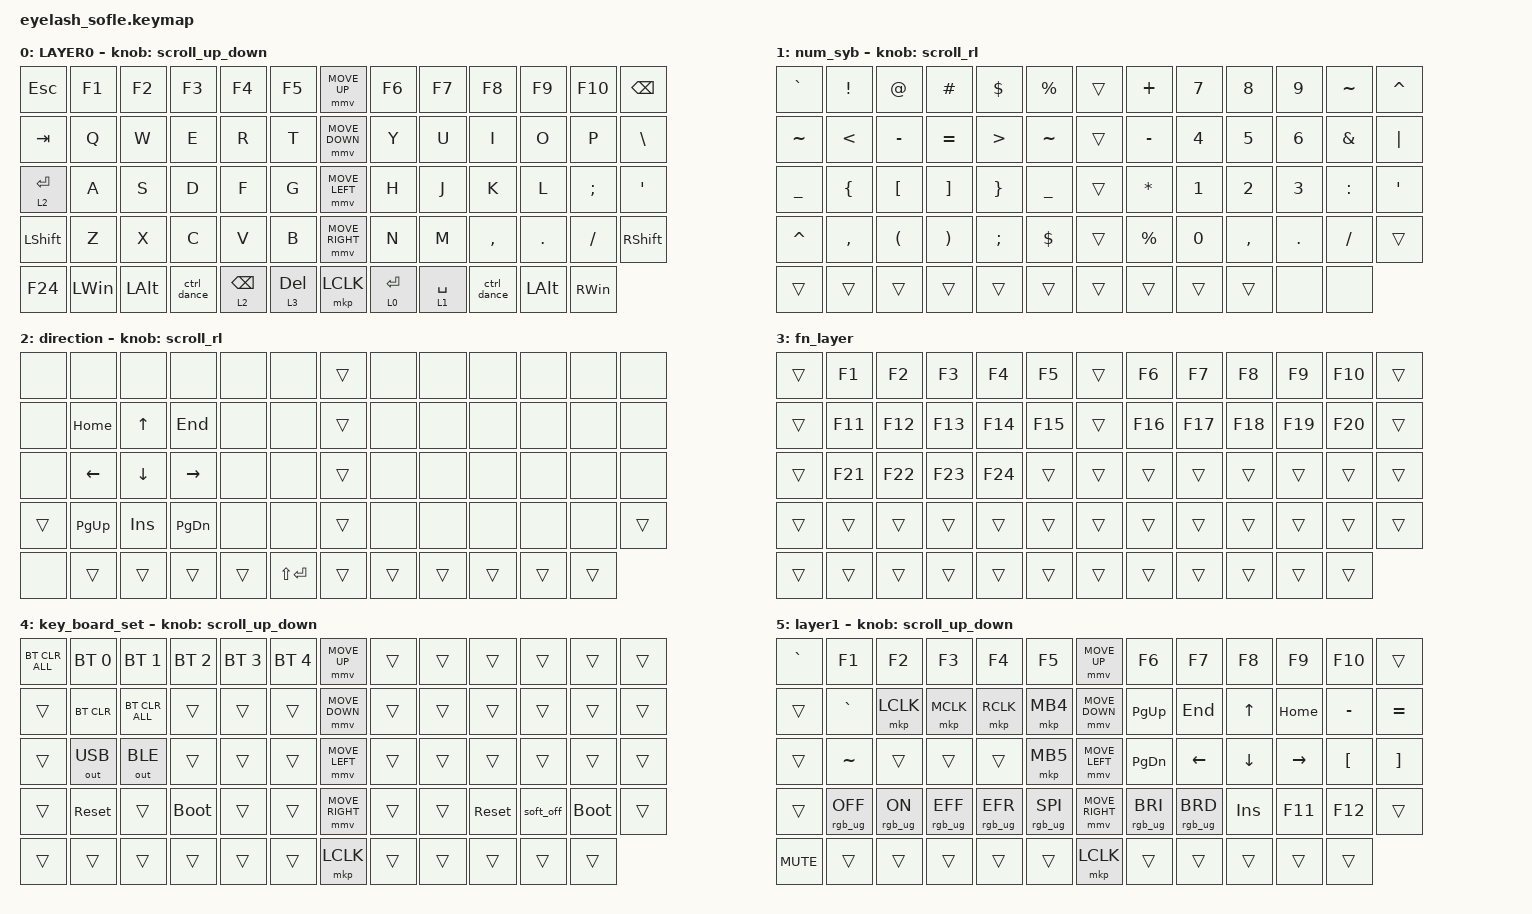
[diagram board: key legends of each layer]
#define ZMK_POINTING_DEFAULT_MOVE_VAL 1200  // 600
#define ZMK_POINTING_DEFAULT_SCRL_VAL 25   // 10

#include <input/processors.dtsi>
#include <zephyr/dt-bindings/input/input-event-codes.h>
#include <behaviors.dtsi>
#include <dt-bindings/zmk/bt.h>
#include <dt-bindings/zmk/keys.h>
#include <dt-bindings/zmk/outputs.h>
#include <dt-bindings/zmk/pointing.h>
#include <dt-bindings/zmk/rgb.h>

&mmv_input_listener { input-processors = <&zip_xy_scaler 2 1>; };

&msc_input_listener { input-processors = <&zip_scroll_scaler 2 1>; };

&msc {
    acceleration-exponent = <1>;      // 0
    time-to-max-speed-ms = <100>;       // 300
    delay-ms = <0>;                   // 0
};

&mmv {
    time-to-max-speed-ms = <500>;
    acceleration-exponent = <1>;
    trigger-period-ms = <16>;
};

// layer_lock: sticky_layer_lock { // 这里的第二个词 "sticky_layer_lock" 也是自定义的，可以随便写
//&
//    compatible = "zmk,behavior-sticky-layer";
//    bindings = <&kp>;
//    release-after-ms = <(-1)>;
//};

/ {
    // 定义部分，可以叫 sl 也可以叫 layer_lock
    //layer_lock: sticky_layer_lock {
    //    compatible = "zmk,behavior-sticky-layer";
    //
    //    #binding-cells = <2>;
    //    bindings = <&mo>, <&kp>;
    //    tapping-term-ms = <200>; // 这个参数虽然在此场景下作用不大，但属于标准配置项
    //};

    scroll_up_down: scroll_up_down {
        compatible = "zmk,behavior-sensor-rotate";
        #sensor-binding-cells = <0>;
        bindings = <&msc SCRL_DOWN>, <&msc SCRL_UP>;

        label = "SCROLL_UP_DOWN";
        tap-ms = <100>;
    };

    ctrl_dance: ctrl_dance {
        compatible = "zmk,behavior-tap-dance";
        label = "CTRL_DANCE";
        #binding-cells = <0>;
        bindings = <&kp LEFT_CONTROL>, <&kp RIGHT_CONTROL>;

        tapping-term-ms = <220>;
    };

    fn_tap: fn_tap {
        compatible = "zmk,behavior-hold-tap";
        label = "FN_TAP";
        bindings = <&mo>, <&kp>;

        #binding-cells = <2>;
        quick-tap-ms = <220>;
        tapping-term-ms = <150>;
        flavor = "tap-preferred";
    };

    scroll_rl: scroll_rl {
        compatible = "zmk,behavior-sensor-rotate";
        #sensor-binding-cells = <0>;
        bindings = <&msc SCRL_LEFT>, <&msc SCRL_RIGHT>;

        tap-ms = <100>;
        label = "SCROLL_RL";
    };

    behaviors {
    };

    combos { compatible = "zmk,combos"; };

    keymap {
        compatible = "zmk,keymap";

        default {
            bindings = <
&kp ESC      &kp F1        &kp F2    &kp F3       &kp F4               &kp F5           &mmv MOVE_UP     &kp F6           &kp F7           &kp F8       &kp F9    &kp F10        &kp BACKSPACE
&kp TAB      &kp Q         &kp W     &kp E        &kp R                &kp T            &mmv MOVE_DOWN   &kp Y            &kp U            &kp I        &kp O     &kp P          &kp BSLH
&lt 2 ENTER  &kp A         &kp S     &kp D        &kp F                &kp G            &mmv MOVE_LEFT   &kp H            &kp J            &kp K        &kp L     &kp SEMI       &kp APOS
&kp LSHFT    &kp Z         &kp X     &kp C        &kp V                &kp B            &mmv MOVE_RIGHT  &kp N            &kp M            &kp COMMA    &kp DOT   &kp FSLH       &kp RIGHT_SHIFT
&kp F24      &kp LEFT_WIN  &kp LALT  &ctrl_dance  &fn_tap 2 BACKSPACE  &fn_tap 3 DEL    &mkp LCLK        &fn_tap 0 ENTER  &fn_tap 1 SPACE  &ctrl_dance  &kp LALT  &kp RIGHT_WIN
            >;

            sensor-bindings = <&scroll_up_down>;
            display-name = "LAYER0";
        };

        num_syb {
            bindings = <
&kp GRAVE       &kp EXCL   &kp AT     &kp HASH   &kp DOLLAR  &kp PERCENT       &trans  &kp PLUS     &kp N7  &kp N8     &kp N9   &kp TILDE  &kp CARET
&kp TILDE       &kp LT     &kp MINUS  &kp EQUAL  &kp GT      &kp TILDE         &trans  &kp MINUS    &kp N4  &kp N5     &kp N6   &kp AMPS   &kp PIPE
&kp UNDERSCORE  &kp LBRC   &kp LBKT   &kp RBKT   &kp RBRC    &kp UNDERSCORE    &trans  &kp ASTRK    &kp N1  &kp N2     &kp N3   &kp COLON  &kp SQT
&kp CARET       &kp COMMA  &kp LPAR   &kp RPAR   &kp SEMI    &kp DOLLAR        &trans  &kp PERCENT  &kp N0  &kp COMMA  &kp DOT  &kp FSLH   &trans
&trans          &trans     &trans     &trans     &trans      &trans            &trans  &trans       &trans  &trans     &none    &none
            >;

            sensor-bindings = <&scroll_rl>;
        };

        direction {
            bindings = <
&none   &none      &none       &none      &none   &none            &trans  &none   &none   &none   &none   &none   &none
&none   &kp HOME   &kp UP      &kp END    &none   &none            &trans  &none   &none   &none   &none   &none   &none
&none   &kp LEFT   &kp DOWN    &kp RIGHT  &none   &none            &trans  &none   &none   &none   &none   &none   &none
&trans  &kp PG_UP  &kp INSERT  &kp PG_DN  &none   &none            &trans  &none   &none   &none   &none   &none   &trans
&none   &trans     &trans      &trans     &trans  &kp LS(ENTER)    &trans  &trans  &trans  &trans  &trans  &trans
            >;

            sensor-bindings = <&scroll_rl>;
        };

        fn_layer {
            bindings = <
&trans  &kp F1   &kp F2   &kp F3   &kp F4   &kp F5     &trans  &kp F6   &kp F7   &kp F8   &kp F9   &kp F10  &trans
&trans  &kp F11  &kp F12  &kp F13  &kp F14  &kp F15    &trans  &kp F16  &kp F17  &kp F18  &kp F19  &kp F20  &trans
&trans  &kp F21  &kp F22  &kp F23  &kp F24  &trans     &trans  &trans   &trans   &trans   &trans   &trans   &trans
&trans  &trans   &trans   &trans   &trans   &trans     &trans  &trans   &trans   &trans   &trans   &trans   &trans
&trans  &trans   &trans   &trans   &trans   &trans     &trans  &trans   &trans   &trans   &trans   &trans
            >;
        };

        key_board_set {
            bindings = <
&bt BT_CLR_ALL  &bt BT_SEL 0  &bt BT_SEL 1    &bt BT_SEL 2  &bt BT_SEL 3  &bt BT_SEL 4    &mmv MOVE_UP     &trans  &trans  &trans      &trans     &trans       &trans
&trans          &bt BT_CLR    &bt BT_CLR_ALL  &trans        &trans        &trans          &mmv MOVE_DOWN   &trans  &trans  &trans      &trans     &trans       &trans
&trans          &out OUT_USB  &out OUT_BLE    &trans        &trans        &trans          &mmv MOVE_LEFT   &trans  &trans  &trans      &trans     &trans       &trans
&trans          &sys_reset    &trans          &bootloader   &trans        &trans          &mmv MOVE_RIGHT  &trans  &trans  &sys_reset  &soft_off  &bootloader  &trans
&trans          &trans        &trans          &trans        &trans        &trans          &mkp LCLK        &trans  &trans  &trans      &trans     &trans
            >;

            sensor-bindings = <&scroll_up_down>;
        };

        default3_whatuse {
            bindings = <
&kp GRAVE   &kp F1           &kp F2          &kp F3           &kp F4           &kp F5             &mmv MOVE_UP     &kp F6           &kp F7           &kp F8      &kp F9     &kp F10           &trans
&trans      &kp GRAVE        &mkp LCLK       &mkp MCLK        &mkp RCLK        &mkp MB4           &mmv MOVE_DOWN   &kp PG_UP        &kp END          &kp UP      &kp HOME   &kp MINUS         &kp EQUAL
&trans      &kp TILDE        &trans          &trans           &trans           &mkp MB5           &mmv MOVE_LEFT   &kp PG_DN        &kp LEFT         &kp DOWN    &kp RIGHT  &kp LEFT_BRACKET  &kp RIGHT_BRACKET
&trans      &rgb_ug RGB_OFF  &rgb_ug RGB_ON  &rgb_ug RGB_EFF  &rgb_ug RGB_EFR  &rgb_ug RGB_SPI    &mmv MOVE_RIGHT  &rgb_ug RGB_BRI  &rgb_ug RGB_BRD  &kp INSERT  &kp F11    &kp F12           &trans
&kp C_MUTE  &trans           &trans          &trans           &trans           &trans             &mkp LCLK        &trans           &trans           &trans      &trans     &trans
            >;

            sensor-bindings = <&scroll_up_down>;
            display-name = "layer1";
        };
    };
};
